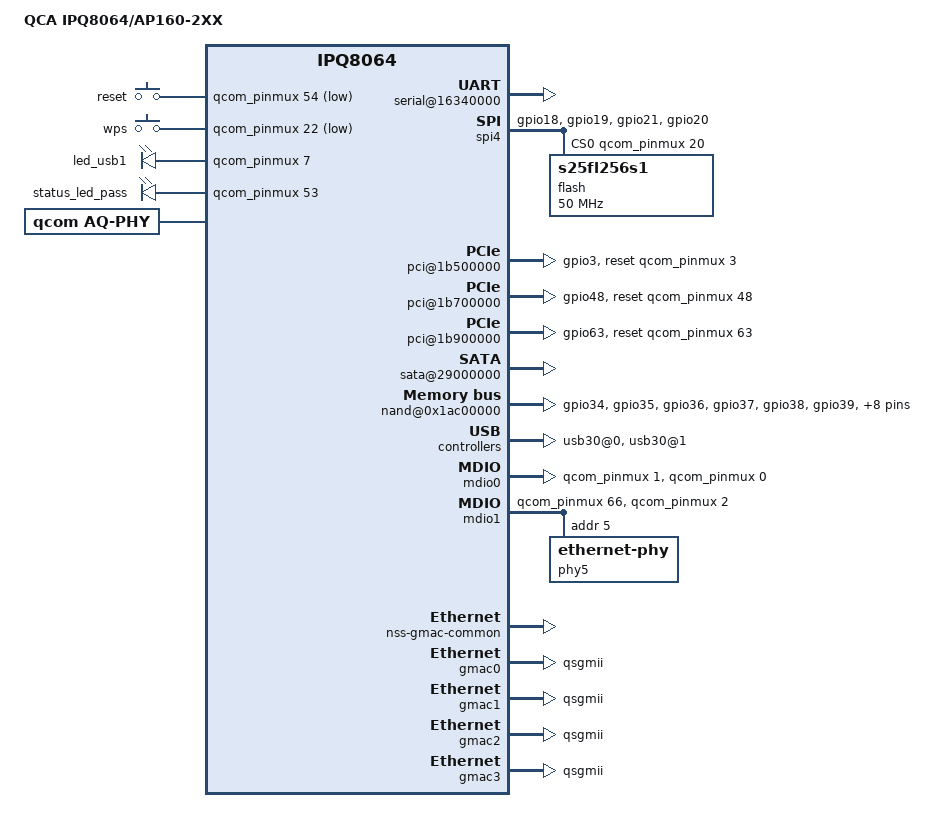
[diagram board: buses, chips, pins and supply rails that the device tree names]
/* Copyright (c) 2015, The Linux Foundation. All rights reserved.
 *
 * Permission to use, copy, modify, and/or distribute this software for any
 * purpose with or without fee is hereby granted, provided that the above
 * copyright notice and this permission notice appear in all copies.
 *
 * THE SOFTWARE IS PROVIDED "AS IS" AND THE AUTHOR DISCLAIMS ALL WARRANTIES
 * WITH REGARD TO THIS SOFTWARE INCLUDING ALL IMPLIED WARRANTIES OF
 * MERCHANTABILITY AND FITNESS. IN NO EVENT SHALL THE AUTHOR BE LIABLE FOR
 * ANY SPECIAL, DIRECT, INDIRECT, OR CONSEQUENTIAL DAMAGES OR ANY DAMAGES
 * WHATSOEVER RESULTING FROM LOSS OF USE, DATA OR PROFITS, WHETHER IN AN
 * ACTION OF CONTRACT, NEGLIGENCE OR OTHER TORTIOUS ACTION, ARISING OUT OF
 * OR IN CONNECTION WITH THE USE OR PERFORMANCE OF THIS SOFTWARE.
 *
 */

#include <dt-bindings/interrupt-controller/arm-gic.h>
#include <dt-bindings/interrupt-controller/irq.h>
#include <dt-bindings/input/input.h>
#include <dt-bindings/gpio/gpio.h>

/ {
	model = "QCA IPQ8064/AP160-2XX";
	compatible = "qcom,ipq8064-ap160_2xx", "qcom,ipq8064";

	reserved-memory {
		#address-cells = <1>;
		#size-cells = <1>;
		ranges;
		rsvd@41200000 {
			reg = <0x41200000 0x300000>;
			no-map;
		};
	};

	aliases {
		mdio-gpio0 = &mdio0;
		mdio-gpio1 = &mdio1;
		/*
		 * U-Boot searches for these entries and patches
		 * 'local-mac-address'
		 */
		ethernet0 = &gmac0;
		ethernet1 = &gmac1;
		ethernet2 = &gmac2;
		ethernet3 = &gmac3;
	};

	soc {
		pinmux@800000 {
			pinctrl-0 = <&mdio0_pins_default &mdio1_pins_default &rgmii2_pins_default &pcie_2g_pwrdwn_default &pcie_5g_pwrdwn_default>;
			pinctrl-names = "default";

			pcie1_pins: pcie1_pinmux {
				mux {
					pins = "gpio3";
					drive-strength = <2>;
					bias-disable;
				};
			};

			pcie2_pins: pcie2_pinmux {
				mux {
					pins = "gpio48";
					drive-strength = <2>;
					bias-disable;
				};
			};

			pcie3_pins: pcie3_pinmux {
				mux {
					pins = "gpio63";
					drive-strength = <2>;
					bias-disable;
				};
			};

			pcie_2g_pwrdwn_default: pcie_2g_pwrdwn_default {
				mux {
					pins = "gpio9";
					drive-strength = <12>;
					bias-pull-up;
					output-high;
				};
			};

			pcie_5g_pwrdwn_default: pcie_5g_pwrdwn_default {
				mux {
					pins = "gpio26";
					drive-strength = <12>;
					bias-pull-up;
					output-high;
				};
			};

			spi_pins: spi_pins {
				mux {
					pins = "gpio18", "gpio19", "gpio21";
					function = "gsbi5";
					drive-strength = <10>;
					bias-none;
				};
				cs {
					pins = "gpio20";
					drive-strength = <12>;
				};
			};
			nand_pins: nand_pins {
				mux {
					pins = "gpio34", "gpio35", "gpio36",
						"gpio37", "gpio38", "gpio39",
						"gpio40", "gpio41", "gpio42",
						"gpio43", "gpio44", "gpio45",
						"gpio46", "gpio47";
					function = "nand";
					drive-strength = <10>;
					bias-disable;
				};
				pullups {
					pins = "gpio39";
					bias-pull-up;
				};
				hold {
					pins = "gpio40", "gpio41", "gpio42",
						"gpio43", "gpio44", "gpio45",
						"gpio46", "gpio47";
					bias-bus-hold;
				};
			};

			mdio0_pins_default: mdio0_pins_default {
				mux {
					pins = "gpio0", "gpio1";
					function = "gpio";
					drive-strength = <8>;
					bias-disable;
				};
			};

			mdio1_pins_default: mdio1_pins_default {
				mux {
					pins = "gpio2", "gpio66";
					function = "gpio";
					drive-strength = <8>;
					bias-disable;
				};
			};

			rgmii2_pins_default: rgmii2_pins_default {
				mux {
					pins = "gpio27", "gpio28", "gpio29", "gpio30", "gpio31", "gpio32",
					       "gpio51", "gpio52", "gpio59", "gpio60", "gpio61", "gpio62" ;
					function = "rgmii2";
					drive-strength = <8>;
					bias-disable;
				};
			};

			leds_pins: leds_pins {
				mux {
					pins = "gpio7", "gpio53";
					function = "gpio";
					drive-strength = <2>;
					bias-pull-down;
					output-low;
				};
			};
		};

		gsbi@16300000 {
			qcom,mode = <GSBI_PROT_I2C_UART>;
			status = "ok";
			serial@16340000 {
				status = "ok";
			};
		};

		gsbi5: gsbi@1a200000 {
			qcom,mode = <GSBI_PROT_SPI>;
			status = "ok";

			spi4: spi@1a280000 {
				status = "ok";
				spi-max-frequency = <50000000>;

				pinctrl-0 = <&spi_pins>;
				pinctrl-names = "default";

				cs-gpios = <&qcom_pinmux 20 0>;

				dmas = <&adm_dma 6 9>,
					<&adm_dma 5 10>;
				dma-names = "rx", "tx";

				flash: m25p80@0 {
					compatible = "s25fl256s1";
					#address-cells = <1>;
					#size-cells = <1>;
					spi-max-frequency = <50000000>;
					reg = <0>;
					m25p,fast-read;
				};
			};
		};

		sata-phy@1b400000 {
			status = "ok";
		};

		pci@1b500000 {
			status = "ok";
			reset-gpio = <&qcom_pinmux 3 0>;
			pinctrl-0 = <&pcie1_pins>;
			pinctrl-names = "default";

			ranges = <0x00000000 0 0x00000000 0x0ff00000 0 0x00100000   /* configuration space */
				  0x81000000 0 0	  0x0fe00000 0 0x00100000   /* downstream I/O */
				  0x82000000 0 0x00000000 0x08000000 0 0x07e00000>; /* non-prefetchable memory */
		};

		pci@1b700000 {
			status = "ok";
			reset-gpio = <&qcom_pinmux 48 0>;
			pinctrl-0 = <&pcie2_pins>;
			pinctrl-names = "default";

			ranges = <0x00000000 0 0x00000000 0x31f00000 0 0x00100000   /* configuration space */
				  0x81000000 0 0	  0x31e00000 0 0x00100000   /* downstream I/O */
				  0x82000000 0 0x00000000 0x2e000000 0 0x03e00000>; /* non-prefetchable memory */

		};

		pci@1b900000 {
			status = "ok";
			reset-gpio = <&qcom_pinmux 63 0>;
			pinctrl-0 = <&pcie3_pins>;
			pinctrl-names = "default";

			ranges = <0x00000000 0 0x00000000 0x35f00000 0 0x00100000   /* configuration space */
				  0x81000000 0 0          0x35e00000 0 0x00100000   /* downstream I/O */
				  0x82000000 0 0x00000000 0x32000000 0 0x03e00000>; /* non-prefetchable memory */

		};

		sata@29000000 {
			status = "ok";
		};

		dma@18300000 {
			status = "ok";
		};

		nand@0x1ac00000 {
			status = "ok";

			pinctrl-0 = <&nand_pins>;
			pinctrl-names = "default";
		};

		tcsr@1a400000 {
			status = "ok";
		};

		phy@100f8800 {		/* USB3 port 1 HS phy */
			status = "ok";
		};

		phy@100f8830 {		/* USB3 port 1 SS phy */
			status = "ok";
		};

		phy@110f8800 {		/* USB3 port 0 HS phy */
			status = "ok";
		};

		phy@110f8830 {		/* USB3 port 0 SS phy */
			status = "ok";
		};

		usb30@0 {
			status = "ok";
		};

		usb30@1 {
			status = "ok";
		};

		gpio_keys {
			compatible = "gpio-keys";

			button@1 {
				label = "reset";
				linux,code = <KEY_RESTART>;
				gpios = <&qcom_pinmux 54 GPIO_ACTIVE_LOW>;
				linux,input-type = <1>;
				debounce-interval = <60>;
			};
			button@2 {
				label = "wps";
				linux,code = <KEY_WPS_BUTTON>;
				gpios = <&qcom_pinmux 22 GPIO_ACTIVE_LOW>;
				linux,input-type = <1>;
				debounce-interval = <60>;
			};
		};

		leds {
			compatible = "gpio-leds";
			pinctrl-0 = <&leds_pins>;
			pinctrl-names = "default";

			led@7 {
				label = "led_usb1";
				gpios = <&qcom_pinmux 7 GPIO_ACTIVE_HIGH>;
				linux,default-trigger = "usbdev";
				default-state = "off";
			};

			led@53 {
				label = "status_led_pass";
				gpios = <&qcom_pinmux 53 GPIO_ACTIVE_HIGH>;
				default-state = "off";
			};
		};

		mdio0: mdio0 {
			compatible = "virtual,mdio-gpio";
			#address-cells = <1>;
			#size-cells = <0>;
			gpios = <&qcom_pinmux 1 0 &qcom_pinmux 0 0>;
		};

		mdio1: mdio1 {
			compatible = "virtual,mdio-gpio";
			#address-cells = <1>;
			#size-cells = <0>;
			gpios = <&qcom_pinmux 66 0 &qcom_pinmux 2 0>;

			phy5: ethernet-phy@5 {
				device_type = "ethernet-phy";
				reg = <5>;
			};
		};

		nss0: nss@40000000 {
			compatible = "qcom,nss";
			interrupts = <GIC_SPI 213 IRQ_TYPE_LEVEL_HIGH>,
				     <GIC_SPI 232 IRQ_TYPE_LEVEL_HIGH>;
			reg = <0x36000000 0x1000 0x39000000 0x10000>;
			reg-names = "nphys", "vphys";
			clocks = <&gcc NSS_CORE_CLK>, <&gcc NSSTCM_CLK_SRC>,
				 <&gcc NSSTCM_CLK>, <&nss_fabric0_clk>,
				 <&nss_fabric1_clk>;
			clock-names = "nss-core-clk", "nss-tcm-src",
				      "nss-tcm-clk", "nss-fab0-clk",
				      "nss-fab1-clk";
			resets = <&gcc UBI32_CORE1_CLKRST_CLAMP_RESET>,
				 <&gcc UBI32_CORE1_CLAMP_RESET>,
				 <&gcc UBI32_CORE1_AHB_RESET>,
				 <&gcc UBI32_CORE1_AXI_RESET>;
			reset-names = "clkrst-clamp", "clamp", "ahb", "axi";

			qcom,id = <0>;
			qcom,num-irq = <2>;
			qcom,num-queue = <2>;
			qcom,load-addr = <0x40000000>;
			qcom,turbo-frequency;

			qcom,ipv4-enabled;
			qcom,ipv6-enabled;
			qcom,l2tpv2-enabled;
			qcom,gre-enabled;
			qcom,map-t-enabled;
			qcom,pptp-enabled;
			qcom,portid-enabled;
			qcom,shaping-enabled;
			qcom,tun6rd-enabled;
			qcom,tunipip6-enabled;
			qcom,wlan-dataplane-offload-enabled;
			qcom,wlanredirect-enabled;
		};

		nss1: nss@40800000 {
			compatible = "qcom,nss";
			interrupts = <GIC_SPI 214 IRQ_TYPE_LEVEL_HIGH>,
				     <GIC_SPI 233 IRQ_TYPE_LEVEL_HIGH>;
			reg = <0x36400000 0x1000 0x39010000 0x10000>;
			reg-names = "nphys", "vphys";
			resets = <&gcc UBI32_CORE2_CLKRST_CLAMP_RESET>,
				 <&gcc UBI32_CORE2_CLAMP_RESET>,
				 <&gcc UBI32_CORE2_AHB_RESET>,
				 <&gcc UBI32_CORE2_AXI_RESET>;
			reset-names = "clkrst-clamp", "clamp", "ahb", "axi";

			qcom,id = <1>;
			qcom,num-irq = <2>;
			qcom,num-queue = <2>;
			qcom,load-addr = <0x40800000>;
			qcom,turbo-frequency;

			qcom,capwap-enabled;
			qcom,crypto-enabled;
			qcom,dtls-enabled;
			qcom,ipsec-enabled;
		};

		 nss-gmac-common {
			compatible = "qcom,nss-gmac-common";
			reg = <0x03000000 0x0000FFFF 0x1bb00000 0x0000FFFF 0x00900000 0x00004000>;
			reg-names = "nss_reg_base" , "qsgmii_reg_base", "clk_ctl_base";
			qcom,gmac-phy-profile = <2>;
		};

		gmac0: ethernet@37000000 {
			device_type = "network";
			compatible = "qcom,nss-gmac";
			reg = <0x37000000 0x200000>;
			interrupts = <GIC_SPI 220 IRQ_TYPE_LEVEL_HIGH>;
			phy-mode = "qsgmii";
			qcom,id = <0>;
			qcom,pcs-chanid = <0>;
			qcom,phy-mdio-addr = <5>;
			qcom,poll-required = <1>;
			qcom,rgmii-delay = <0>;
			qcom,emulation = <0>;
			qcom,forced-speed = <1000>;
			qcom,forced-duplex = <1>;
			qcom,mmds-mask = <0>;
			qcom,socver = <0>;
			local-mac-address = [000000000000];
			mdiobus = <&mdio1>;
		};

                gmac1: ethernet@37200000 {
			device_type = "network";
			compatible = "qcom,nss-gmac";
			reg = <0x37200000 0x200000>;
			interrupts = <GIC_SPI 223 IRQ_TYPE_LEVEL_HIGH>;
			phy-mode = "qsgmii";
			qcom,id = <1>;
			qcom,pcs-chanid = <1>;
			qcom,phy-mdio-addr = <16>;
			qcom,poll-required = <1>;
			qcom,rgmii-delay = <0>;
			qcom,emulation = <0>;
			qcom,forced-speed = <1000>;
			qcom,forced-duplex = <1>;
			qcom,mmds-mask = <0x6000009a>;
			qcom,socver = <0>;
			local-mac-address = [000000000000];
			mdiobus = <&mdio1>;
		};

                gmac2: ethernet@37400000 {
			device_type = "network";
			compatible = "qcom,nss-gmac";
			reg = <0x37400000 0x200000>;
			interrupts = <GIC_SPI 226 IRQ_TYPE_LEVEL_HIGH>;
			phy-mode = "qsgmii";
			qcom,id = <2>;
			qcom,pcs-chanid = <2>;
			qcom,phy-mdio-addr = <32>;
			qcom,poll-required = <0>;
			qcom,rgmii-delay = <0>;
			qcom,emulation = <0>;
			qcom,forced-speed = <1000>;
			qcom,forced-duplex = <1>;
			qcom,mmds-mask = <0>;
			qcom,socver = <0>;
			local-mac-address = [000000000000];
			mdiobus = <&mdio1>;
		};

                gmac3: ethernet@37600000 {
			device_type = "network";
			compatible = "qcom,nss-gmac";
			reg = <0x37600000 0x200000>;
			interrupts = <GIC_SPI 229 IRQ_TYPE_LEVEL_HIGH>;
			phy-mode = "qsgmii";
			qcom,id = <3>;
			qcom,pcs-chanid = <3>;
			qcom,phy-mdio-addr = <32>;
			qcom,poll-required = <0>;
			qcom,rgmii-delay = <0>;
			qcom,emulation = <0>;
			qcom,forced-speed = <1000>;
			qcom,forced-duplex = <1>;
			qcom,mmds-mask = <0>;
			qcom,socver = <0>;
			local-mac-address = [000000000000];
			mdiobus = <&mdio1>;
		};

		aq-phy {
			compatible = "qcom,aq-phy";
			qcom,phy-addr = <0x10>;
			mdiobus = <&mdio1>;
		};

		 qca-85xx-sw {
			compatible = "qcom,qca-85xx-sw";
			qcom,sgmii-plus-if-phy-addr = <0x10>;
			qcom,chip-id = <1>;
			qcom,qsgmii-cfg-port-mode = <1>;
			qcom,qsgmii-cfg-port-base = <1>;
			qcom,qsgmii-cfg-is-speed-forced = <1>;
			qcom,qsgmii-cfg-forced-speed = <1000>;
			qcom,qsgmii-cfg-forced-duplex = <1>;
			qcom,port-26-cfg-port-mode = <2>;
			qcom,port-26-cfg-is-speed-forced = <0>;
			qcom,port-27-cfg-port-mode = <3>;
			qcom,port-27-cfg-is-speed-forced = <1>;
			qcom,port-27-cfg-forced-speed = <2500>;
			qcom,port-27-cfg-forced-duplex = <1>;
			qcom,trunk-cfg-is-trunk-enabled = <1>;
			qcom,trunk-cfg-trunk-id = <0>;
			qcom,trunk-cfg-trunk-hash-policy = <0x6f>;
			qcom,trunk-cfg-trunk-ports-bit-map = <0x1c>;
			mdiobus = <&mdio0>;
			sgmii-plus-if-phy-mdiobus = <&mdio1>;
		};

		crypto1: crypto@38000000 {
			compatible = "qcom,nss-crypto";
			reg-names = "crypto_pbase", "bam_base";
			reg = <0x38000000 0x20000>,
			    <0x38004000 0x22000>;
                        resets = <&gcc CRYPTO_ENG1_RESET>,
                                 <&gcc CRYPTO_AHB_RESET>;
                        reset-names = "rst_eng", "rst_ahb";
			clocks = <&gcc CE5_CORE_CLK>, <&gcc CE5_A_CLK>, <&gcc CE5_H_CLK>;
			clock-names = "ce5_core", "ce5_aclk", "ce5_hclk";
			qcom,ee = <0>;
		};

		crypto2: crypto@38400000 {
			compatible = "qcom,nss-crypto";
			reg-names = "crypto_pbase", "bam_base";
			reg = <0x38400000 0x20000>,
			    <0x38404000 0x22000>;
                        resets = <&gcc CRYPTO_ENG2_RESET>;
                        reset-names = "rst_eng";
			qcom,ee = <0>;
		};

		crypto3: crypto@38800000 {
			compatible = "qcom,nss-crypto";
			reg-names = "crypto_pbase", "bam_base";
			reg = <0x38800000 0x20000>,
			    <0x38804000 0x22000>;
                        resets = <&gcc CRYPTO_ENG3_RESET>;
                        reset-names = "rst_eng";
			qcom,ee = <0>;
		};

		crypto4: crypto@38C00000 {
			compatible = "qcom,nss-crypto";
			reg-names = "crypto_pbase", "bam_base";
			reg = <0x38C00000 0x20000>,
			    <0x38C04000 0x22000>;
                        resets = <&gcc CRYPTO_ENG4_RESET>;
                        reset-names = "rst_eng";
			qcom,ee = <0>;
		};

	};
};
